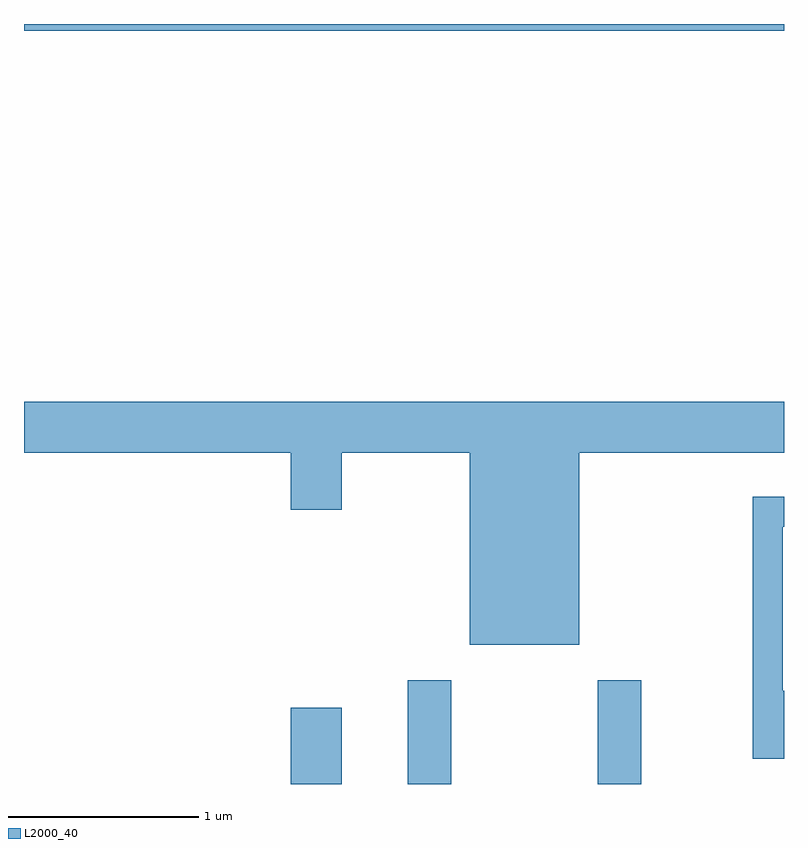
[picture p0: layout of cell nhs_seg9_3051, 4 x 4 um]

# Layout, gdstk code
import gdstk
lib = gdstk.Library(unit=1e-6, precision=1e-09)
def R(c, l, rs):  # rectangles x0, y0, x1, y1
    for r in rs: c.add(gdstk.rectangle(r[:2], r[2:], *l))
def P(c, l, *ps):  # polygons
    for p in ps: c.add(gdstk.Polygon(p, *l))
L2000_40 = (2000, 40)

nhs_seg9_3051 = lib.new_cell('nhs_seg9_3051')
R(nhs_seg9_3051, L2000_40, [(275.016,2074.432,275.284,2074.834), (275.631,2074.432,275.859,2074.979), (276.631,2074.432,276.859,2074.979), (273.611,2078.396,277.611,2078.432)])
P(nhs_seg9_3051, L2000_40, [(276.534,2076.176),(277.611,2076.176),(277.611,2076.444),(273.611,2076.444),(273.611,2076.176),(275.016,2076.176),(275.016,2075.876),(275.284,2075.876),(275.284,2076.176),(275.956,2076.176),(275.956,2075.166),(276.534,2075.166)],
  [(277.611,2074.924),(277.604,2074.924),(277.604,2075.786),(277.611,2075.786),(277.611,2075.944),(277.446,2075.944),(277.446,2074.566),(277.611,2074.566)])

lib.write_gds('nhs_seg9_3051.gds')
